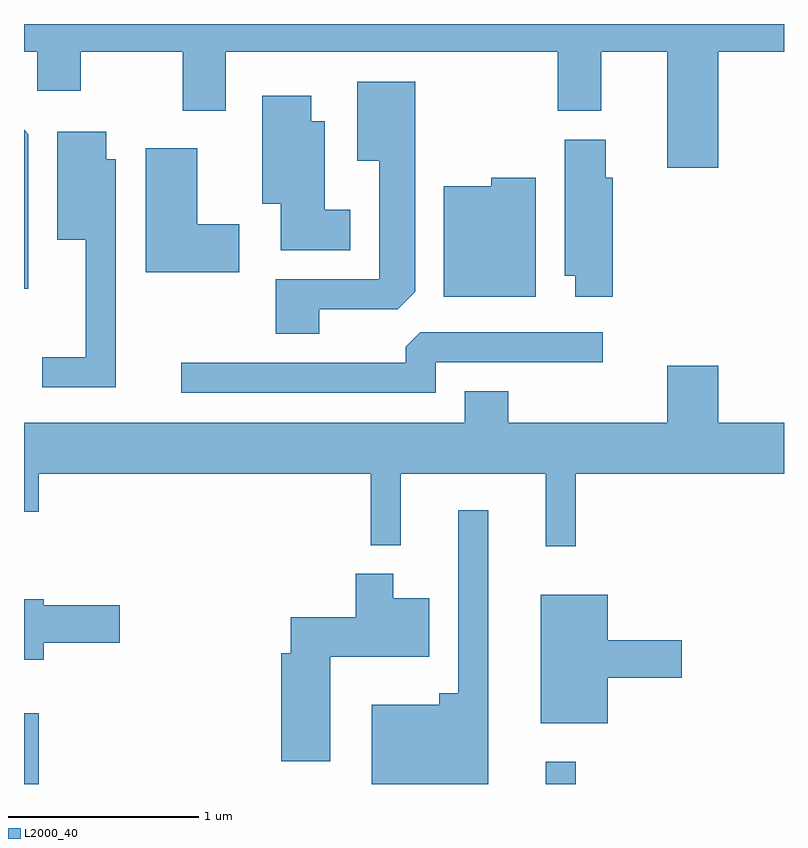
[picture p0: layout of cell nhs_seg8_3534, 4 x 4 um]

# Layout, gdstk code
import gdstk
lib = gdstk.Library(unit=1e-6, precision=1e-09)
def R(c, l, rs):  # rectangles x0, y0, x1, y1
    for r in rs: c.add(gdstk.rectangle(r[:2], r[2:], *l))
def P(c, l, *ps):  # polygons
    for p in ps: c.add(gdstk.Polygon(p, *l))
L2000_40 = (2000, 40)

nhs_seg8_3534 = lib.new_cell('nhs_seg8_3534')
R(nhs_seg8_3534, L2000_40, [(291.611,1830.342,291.689,1830.714), (294.356,1830.342,294.514,1830.458)])
P(nhs_seg8_3534, L2000_40, [(295.264,1834.196),(295.611,1834.196),(295.611,1834.342),(291.611,1834.342),(291.611,1834.196),(291.681,1834.196),(291.681,1833.991),(291.909,1833.991),(291.909,1834.196),(292.446,1834.196),(292.446,1833.886),(292.674,1833.886),(292.674,1834.196),(294.421,1834.196),(294.421,1833.886),(294.649,1833.886),(294.649,1834.196),(294.996,1834.196),(294.996,1833.586),(295.264,1833.586)],
  [(293.164,1832.841),(293.579,1832.841),(293.669,1832.932),(293.669,1834.039),(293.366,1834.039),(293.366,1833.621),(293.481,1833.621),(293.481,1832.999),(292.936,1832.999),(292.936,1832.711),(293.164,1832.711)],
  [(293.329,1833.364),(293.194,1833.364),(293.194,1833.829),(293.124,1833.829),(293.124,1833.964),(292.866,1833.964),(292.866,1833.396),(292.961,1833.396),(292.961,1833.151),(293.329,1833.151)],
  [(291.634,1833.762),(291.611,1833.785),(291.611,1832.948),(291.634,1832.948)],
  [(292.094,1833.629),(292.044,1833.629),(292.044,1833.774),(291.786,1833.774),(291.786,1833.206),(291.936,1833.206),(291.936,1832.589),(291.708,1832.589),(291.708,1832.431),(292.094,1832.431)],
  [(294.709,1833.534),(294.674,1833.534),(294.674,1833.734),(294.456,1833.734),(294.456,1833.016),(294.511,1833.016),(294.511,1832.906),(294.709,1832.906)],
  [(292.744,1833.289),(292.524,1833.289),(292.524,1833.689),(292.251,1833.689),(292.251,1833.036),(292.744,1833.036)],
  [(294.304,1833.534),(294.071,1833.534),(294.071,1833.489),(293.821,1833.489),(293.821,1832.906),(294.304,1832.906)],
  [(293.779,1832.561),(294.658,1832.561),(294.658,1832.719),(293.697,1832.719),(293.621,1832.644),(293.621,1832.559),(292.438,1832.559),(292.438,1832.401),(293.779,1832.401)],
  [(294.514,1831.976),(295.611,1831.976),(295.611,1832.244),(295.264,1832.244),(295.264,1832.544),(294.996,1832.544),(294.996,1832.244),(294.159,1832.244),(294.159,1832.409),(293.931,1832.409),(293.931,1832.244),(291.611,1832.244),(291.611,1831.776),(291.689,1831.776),(291.689,1831.976),(293.436,1831.976),(293.436,1831.598),(293.594,1831.598),(293.594,1831.976),(294.356,1831.976),(294.356,1831.593),(294.514,1831.593)],
  [(294.054,1831.783),(293.896,1831.783),(293.896,1830.819),(293.796,1830.819),(293.796,1830.759),(293.441,1830.759),(293.441,1830.342),(294.054,1830.342)],
  [(293.224,1831.011),(293.744,1831.011),(293.744,1831.319),(293.554,1831.319),(293.554,1831.449),(293.356,1831.449),(293.356,1831.219),(293.016,1831.219),(293.016,1831.029),(292.966,1831.029),(292.966,1830.461),(293.224,1830.461)],
  [(294.684,1830.901),(295.074,1830.901),(295.074,1831.099),(294.684,1831.099),(294.684,1831.339),(294.331,1831.339),(294.331,1830.661),(294.684,1830.661)],
  [(291.714,1831.086),(292.114,1831.086),(292.114,1831.284),(291.714,1831.284),(291.714,1831.314),(291.611,1831.314),(291.611,1830.996),(291.714,1830.996)])

lib.write_gds('nhs_seg8_3534.gds')
